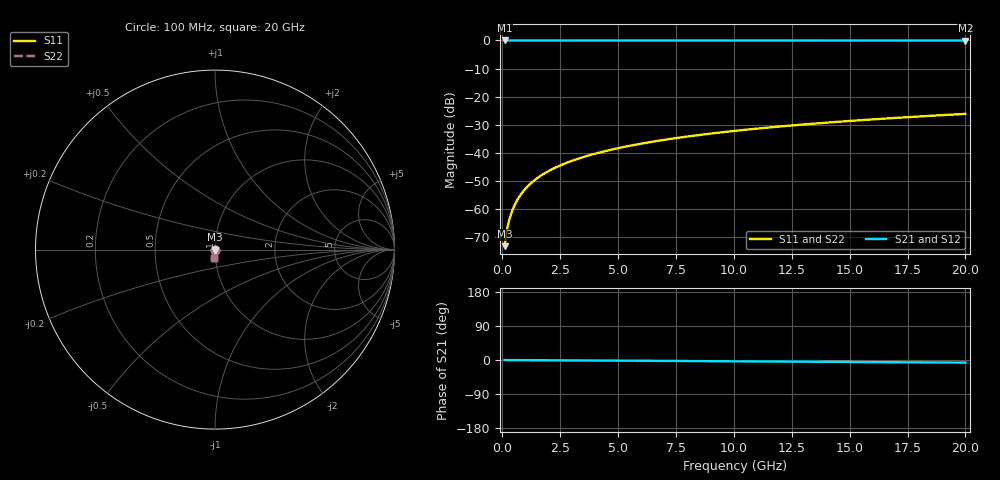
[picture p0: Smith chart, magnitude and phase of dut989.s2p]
! Touchstone file exported from HFSS 2026.1.0
!  File:  C:/ffzhzh/LocalFiles/Ansys_Project_Files/temp_train_TSV_989_1783188138_18472.aedt
!  Generated:  02:03:38 AM Jul  5, 2026
!  Design:  TSV
!  Project:  temp_train_TSV_989_1783188138_18472
! Variables:
!  h_bsmrdl = 2um
!  h_ox = 20um
!  h_rdl = 5um
!  h_sub = 63.65um
!  h_tmrdl = 5um
!  h_tsv = 63.65um
!  h_via = 3um
!  l_bsmrdl = 300um
!  l_sub = 428.68um
!  l_tmrdl = 200um
!  m_sub = 200um
!  pitch = 40.09um
!  r_tsv = 14.34um
!  s_tmrdl = 10um
!  w_bsmrdl = 18um
!  w_sub = 500um
!  w_tmrdl = 12um
!  x_tsv_center1 = 206um
!  x_tsv_center2 = 524um
!  x_tsv_center3 = 736um
!  x_tsv_center4 = 1054um
!  x_tsv_center5 = 1266um
!  x_tsv_center6 = 1584um
# GHz S MA R 50.000000
! Terminal data exported
! Port[1] = TSV1_1_T1
! Port[2] = TSV1_1_T2
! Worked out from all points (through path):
!   200 points, 100 MHz to 20 GHz, reference 50 ohm
!   highest |S21| = 0.00 dB at 100 MHz (marker M1); lowest = 0.0 dB at 20 GHz (marker M2)
!   lowest |S11| = -73.1 dB at 100 MHz (marker M3), VSWR 1.00, Z = 50 - j0.021 ohm
!   |S11| at or under -10 dB: start of sweep to end of sweep
!   |S22| runs from -73.1 to -26.1 dB; largest |S21 - S12| = 2.6e-15
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0.1  0.0002216 -71.6  0.9999 -0.0  0.9999 -0.0  0.0002216 -71.6
! Gamma 0 0 0 0
! Port Impedance 50 0 50 0
0.2  0.0004322 -79.0  0.9999 -0.1  0.9999 -0.1  0.0004322 -79.0
0.3  0.0006521 -81.1  0.9999 -0.1  0.9999 -0.1  0.0006521 -81.1
0.4  0.0008795 -82.1  0.9999 -0.1  0.9999 -0.1  0.0008795 -82.1
0.5  0.001113 -82.7  0.9999 -0.2  0.9999 -0.2  0.001113 -82.7
0.7  0.001593 -83.6  0.9998 -0.3  0.9998 -0.3  0.001593 -83.6
0.8  0.001837 -84.0  0.9998 -0.3  0.9998 -0.3  0.001837 -84.0
1  0.002328 -84.7  0.9998 -0.4  0.9998 -0.4  0.002328 -84.7
1.2  0.002821 -85.3  0.9997 -0.4  0.9997 -0.4  0.002821 -85.3
1.4  0.003314 -85.9  0.9997 -0.5  0.9997 -0.5  0.003314 -85.9
1.7  0.004053 -86.5  0.9997 -0.6  0.9997 -0.6  0.004053 -86.5
2  0.004792 -87.0  0.9997 -0.7  0.9997 -0.7  0.004792 -87.0
2.7  0.006516 -87.9  0.9996 -0.9  0.9996 -0.9  0.006516 -87.9
3.5  0.00849 -88.6  0.9996 -1.2  0.9996 -1.2  0.00849 -88.6
4.2  0.01022 -89.1  0.9995 -1.5  0.9995 -1.5  0.01022 -89.1
5  0.0122 -89.5  0.9995 -1.7  0.9995 -1.7  0.0122 -89.5
6.8  0.01668 -90.5  0.9993 -2.4  0.9993 -2.4  0.01668 -90.5
8.3  0.02042 -91.2  0.9992 -2.9  0.9992 -2.9  0.02042 -91.2
10.1  0.02491 -91.9  0.999 -3.5  0.999 -3.5  0.02491 -91.9
13.4  0.03315 -93.3  0.9987 -4.6  0.9987 -4.6  0.03315 -93.3
16.7  0.04139 -94.6  0.9983 -5.8  0.9983 -5.8  0.04139 -94.6
20  0.04962 -95.8  0.9978 -6.9  0.9978 -6.9  0.04962 -95.8
